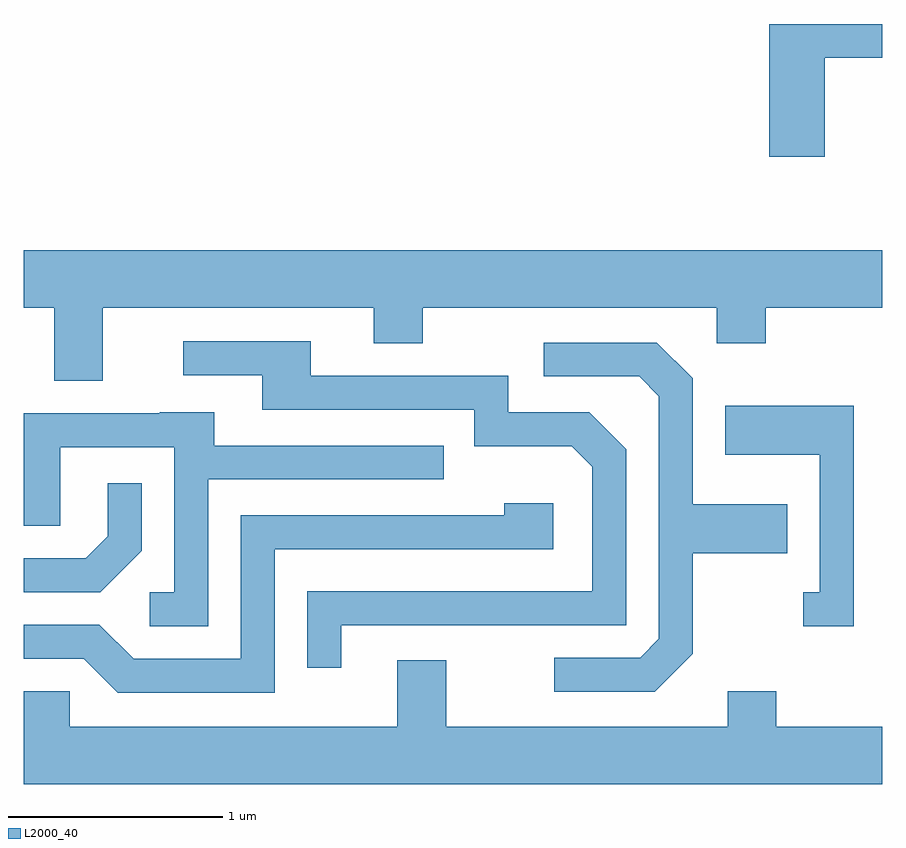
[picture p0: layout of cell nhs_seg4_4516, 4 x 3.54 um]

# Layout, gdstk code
import gdstk
lib = gdstk.Library(unit=1e-6, precision=1e-09)
def P(c, l, *ps):  # polygons
    for p in ps: c.add(gdstk.Polygon(p, *l))
L2000_40 = (2000, 40)

nhs_seg4_4516 = lib.new_cell('nhs_seg4_4516')
P(nhs_seg4_4516, L2000_40, [(321.344,1313.661),(321.611,1313.661),(321.611,1313.819),(321.086,1313.819),(321.086,1313.201),(321.344,1313.201)],
  [(317.979,1312.496),(319.241,1312.496),(319.241,1312.331),(319.469,1312.331),(319.469,1312.496),(320.841,1312.496),(320.841,1312.331),(321.069,1312.331),(321.069,1312.496),(321.611,1312.496),(321.611,1312.764),(317.611,1312.764),(317.611,1312.496),(317.751,1312.496),(317.751,1312.156),(317.979,1312.156)],
  [(319.089,1311.016),(320.419,1311.016),(320.419,1311.837),(320.247,1312.009),(319.869,1312.009),(319.869,1312.179),(318.949,1312.179),(318.949,1312.339),(318.353,1312.339),(318.353,1312.181),(318.721,1312.181),(318.721,1312.021),(319.711,1312.021),(319.711,1311.851),(320.164,1311.851),(320.261,1311.754),(320.261,1311.174),(318.931,1311.174),(318.931,1310.818),(319.089,1310.818)],
  [(320.729,1310.884),(320.729,1311.351),(321.169,1311.351),(321.169,1311.579),(320.729,1311.579),(320.729,1312.167),(320.562,1312.334),(320.033,1312.334),(320.033,1312.176),(320.479,1312.176),(320.571,1312.084),(320.571,1310.952),(320.484,1310.864),(320.083,1310.864),(320.083,1310.706),(320.552,1310.706)],
  [(321.479,1312.039),(320.881,1312.039),(320.881,1311.811),(321.321,1311.811),(321.321,1311.169),(321.243,1311.169),(321.243,1311.011),(321.479,1311.011)],
  [(318.469,1311.696),(319.568,1311.696),(319.568,1311.854),(318.499,1311.854),(318.499,1312.009),(318.245,1312.009),(318.245,1312.004),(317.611,1312.004),(317.611,1311.481),(317.779,1311.481),(317.779,1311.846),(318.311,1311.846),(318.311,1311.169),(318.198,1311.169),(318.198,1311.011),(318.469,1311.011)],
  [(318.159,1311.364),(318.159,1311.678),(318.001,1311.678),(318.001,1311.432),(317.899,1311.329),(317.611,1311.329),(317.611,1311.171),(317.967,1311.171)],
  [(318.779,1311.371),(320.079,1311.371),(320.079,1311.584),(319.851,1311.584),(319.851,1311.529),(318.621,1311.529),(318.621,1310.859),(318.122,1310.859),(317.962,1311.019),(317.611,1311.019),(317.611,1310.861),(317.889,1310.861),(318.049,1310.701),(318.779,1310.701)],
  [(321.611,1310.544),(321.119,1310.544),(321.119,1310.709),(320.891,1310.709),(320.891,1310.544),(319.579,1310.544),(319.579,1310.854),(319.351,1310.854),(319.351,1310.544),(317.824,1310.544),(317.824,1310.709),(317.611,1310.709),(317.611,1310.276),(321.611,1310.276)])

lib.write_gds('nhs_seg4_4516.gds')
